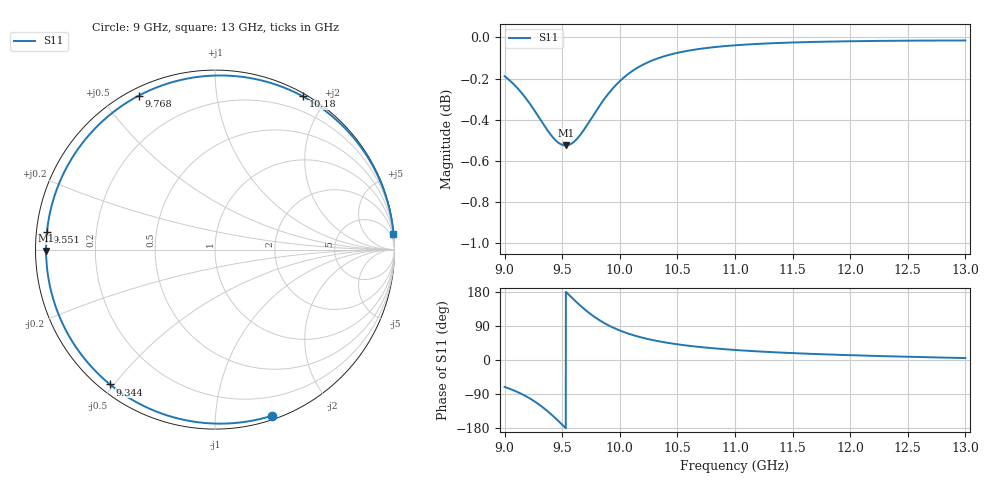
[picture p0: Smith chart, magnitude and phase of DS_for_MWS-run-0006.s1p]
! TOUCHSTONE file generated by CST DESIGN STUDIO
! Date and time: Tue Feb  4 13:36:39 2025
! Project name: C:\Work\MatlabApps\UnitCellOptimizationMatlab\CST\unitcell.cst
! Tree item: Tasks\Sweep1\SPara1\S-Parameters
! Header version: 2024
! Port assignment regex: !\s*Touchstone port\s*([0-9]+)\s*=\s*(CST MWS port|CST DES external port|CST DES block port)\s*(.+)\s* \(\"(.*)\"\)(\s*mode\s*([0-9]+))?.*
! Touchstone port assignment:
! Touchstone port 1 = CST DES external port 1 ("")
# GHz S MA R 50
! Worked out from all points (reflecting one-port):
!   4001 points, 9 GHz to 13 GHz, reference 50 ohm
!   lowest |S11| = -0.5 dB at 9.53 GHz (marker M1), VSWR 33.11, Z = 1.51 - j0.161 ohm
!   phase of S11 starts at -71 deg and turns -284 deg over the sweep
!   S11 on the Smith chart (normalised r, x): 9 GHz: 0.03, -1.40; 9.344 GHz: 0.03, -0.49; 9.551 GHz: 0.03, +0.05; 9.768 GHz: 0.03, +0.62; 10.18 GHz: 0.03, +1.73; 13 GHz: 0, +22
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9  0.9786 -71.1
9.095  0.9732 -82.2
9.202  0.9651 -98.5
9.276  0.9584 -112.6
9.344  0.952 -127.9
9.387  0.9481 -138.7
9.431  0.9448 -150.7
9.5  0.9417 -170.7
9.53  0.9414 -179.6
9.551  0.9415 174.1
9.605  0.9435 158.2
9.665  0.9476 141.4
9.716  0.9522 128.4
9.768  0.9572 116.4
9.817  0.9618 106.3
9.87  0.9665 96.6
9.935  0.9716 86.5
10  0.9759 77.9
10.086  0.9804 68.4
10.179  0.9842 60.2
10.326  0.9883 50.1
10.5  0.9914 41.4
10.721  0.9939 33.5
11  0.9956 26.5
11.5  0.9972 18.2
12  0.9979 12.7
12.5  0.9982 8.5
13  0.9983 5.1
